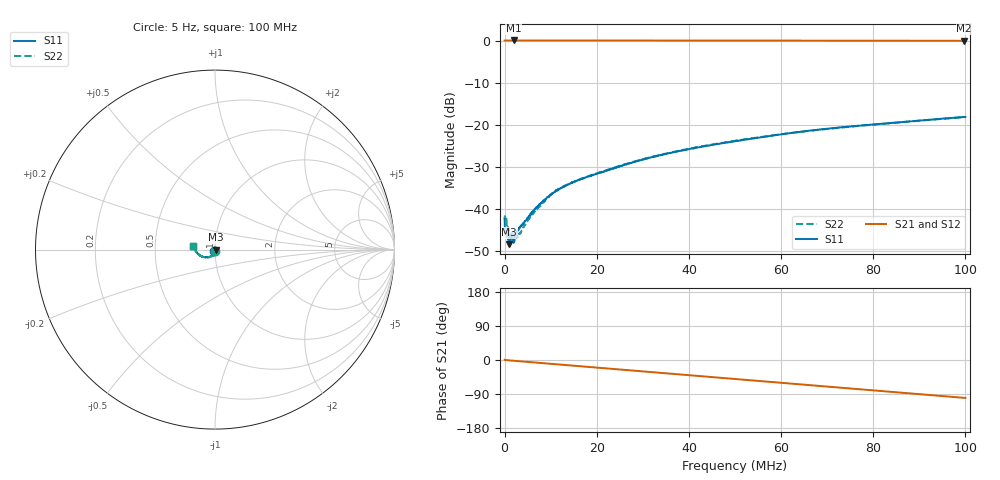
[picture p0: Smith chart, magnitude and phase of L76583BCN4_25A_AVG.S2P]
!Agilent Technologies,E5061B,MY49102235,A.02.00
!Date: Tue Jul 11 17:12:41 2023
!Data & Calibration Information:
!Freq	S11:SOLT2(ON)	S21:SOLT2(ON)	S12:SOLT2(ON)	S22:SOLT2(ON)
# Hz S RI R 50
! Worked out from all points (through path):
!   1600 points, 5 Hz to 100 MHz, reference 50 ohm
!   highest |S21| = 0.02 dB at 1.939 MHz (marker M1); lowest = -0.1 dB at 99.75 MHz (marker M2)
!   group delay of S21, straight-line fit = 2.78 ns
!   lowest |S11| = -48.4 dB at 1.001 MHz (marker M3), VSWR 1.01, Z = 50.4 - j0.0884 ohm
!   |S11| at or under -10 dB: start of sweep to end of sweep
!   |S22| runs from -48.8 to -18.2 dB; largest |S21 - S12| = 0.0029
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5  -0.00523 -0.00562  1.002 0.00792  1.001 0.0103  -0.00143 -0.00757
187622.3  0.00548 -0.000337  1.001 -0.00225  1.001 -0.000866  0.00739 -0.00238
625395.8  0.00511 -0.000714  1.002 -0.0104  1.002 -0.01  0.00609 -0.00103
1000630  0.00371 -0.000878  1.001 -0.0165  1.001 -0.0157  0.00508 -0.0018
1563482  0.00428 -0.00305  1.001 -0.0264  1.001 -0.0251  0.00309 -0.00364
1938717  0.00305 -0.00252  1.002 -0.0337  1.001 -0.0327  0.00335 -0.00227
2376490  0.00324 -0.00322  1 -0.0415  1 -0.0412  0.00388 -0.00288
3064420  0.00407 -0.00399  1 -0.0534  0.999 -0.053  0.00296 -0.00385
6003757  0.00321 -0.00844  0.9956 -0.1048  0.9954 -0.1041  0.00275 -0.00825
8880555  0.00181 -0.013  0.9892 -0.1549  0.989 -0.1541  0.00112 -0.0128
1.025641e7  0.000672 -0.015  0.9852 -0.1786  0.9849 -0.1779  -0.000112 -0.0152
1.156974e7  -0.000281 -0.017  0.9808 -0.2011  0.9804 -0.2004  -0.0012 -0.0171
1.669794e7  -0.00436 -0.0223  0.9582 -0.288  0.958 -0.2874  -0.00477 -0.0224
2.582865e7  -0.0122 -0.0307  0.9004 -0.4367  0.9001 -0.4361  -0.0102 -0.032
3.333334e7  -0.0217 -0.0371  0.835 -0.5505  0.8348 -0.5499  -0.0204 -0.0382
4.033771e7  -0.0317 -0.0411  0.7611 -0.648  0.7611 -0.6474  -0.0313 -0.0422
5.003127e7  -0.0471 -0.0429  0.6405 -0.7669  0.6405 -0.7663  -0.0472 -0.0439
6.672921e7  -0.078 -0.0362  0.3919 -0.9172  0.3924 -0.9168  -0.0772 -0.0362
8.33646e7  -0.1037 -0.0127  0.1128 -0.9892  0.113 -0.989  -0.103 -0.0147
9.155722e7  -0.114 0.00327  -0.0297 -0.994  -0.0293 -0.9938  -0.1137 3.96e-05
9.974984e7  -0.122 0.0211  -0.1709 -0.9783  -0.1702 -0.9783  -0.1216 0.0181
1e8  -0.1222 0.0216  -0.1751 -0.9777  -0.1746 -0.9777  -0.122 0.0189
